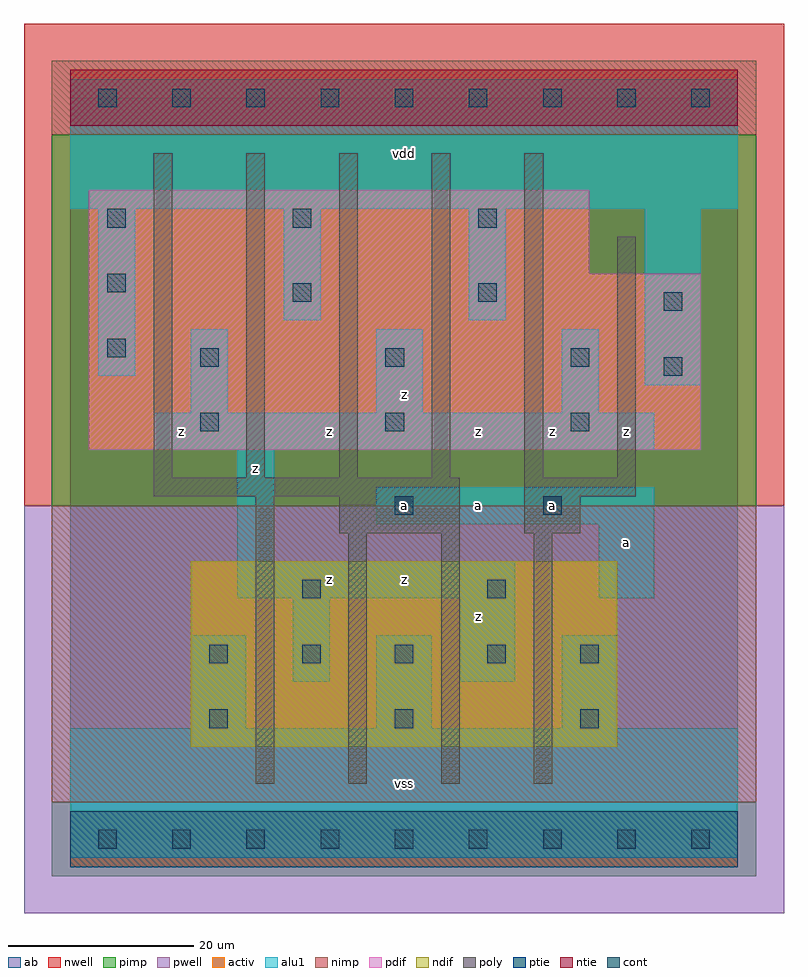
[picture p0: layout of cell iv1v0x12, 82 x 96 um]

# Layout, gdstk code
import gdstk
lib = gdstk.Library(unit=1e-6, precision=1e-09)
def R(c, l, rs):  # rectangles x0, y0, x1, y1
    for r in rs: c.add(gdstk.rectangle(r[:2], r[2:], *l))
def A(c, l, x, y, w, h, nx, ny, dx, dy):  # array of equal rectangles
    R(c, l, [(x+i*dx, y+j*dy, x+i*dx+w, y+j*dy+h) for i in range(nx) for j in range(ny)])
ndif = (3, 0)
pdif = (4, 0)
ntie = (5, 0)
ptie = (6, 0)
cont = (25, 0)
pwell = (41, 0)
nwell = (42, 0)
activ = (43, 0)
pimp = (44, 0)
nimp = (45, 0)
poly = (46, 0)
alu1 = (49, 0)
ab = (63, 0)

iv1v0x12 = lib.new_cell('iv1v0x12')
R(iv1v0x12, ndif, [(13,10,59,30)])
R(iv1v0x12, pdif, [(2,42,68,61), (2,61,56,70)])
R(iv1v0x12, ntie, [(0,77,72,83)])
R(iv1v0x12, ptie, [(0,-3,72,3)])
A(iv1v0x12, cont, 3, -1, 2, 2, 9, 2, 8, 80)
A(iv1v0x12, cont, 15, 12, 2, 2, 3, 1, 20, 0)
A(iv1v0x12, cont, 15, 19, 2, 2, 5, 1, 10, 0)
A(iv1v0x12, cont, 14, 44, 2, 2, 3, 2, 20, 7)
A(iv1v0x12, cont, 4, 66, 2, 2, 3, 1, 20, 0)
R(iv1v0x12, cont, [(25,26,27,28), (45,26,47,28), (35,35,37,37), (51,35,53,37), (64,50,66,52), (4,52,6,54), (64,57,66,59), (24,58,26,60), (44,58,46,60), (4,59,6,61)])
R(iv1v0x12, pwell, [(-5,-8,77,36)])
R(iv1v0x12, nwell, [(-5,36,77,88)])
R(iv1v0x12, activ, [(0,-3,72,3), (13,10,59,30), (2,42,68,61), (2,61,56,70), (0,77,72,83)])
R(iv1v0x12, pimp, [(-2,-4,74,4), (-2,36,74,76)])
R(iv1v0x12, nimp, [(-2,4,74,36), (-2,76,74,84)])
A(iv1v0x12, poly, 30, 6, 2, 27, 3, 1, 10, 0)
A(iv1v0x12, poly, 9, 39, 2, 35, 5, 1, 10, 0)
R(iv1v0x12, poly, [(20,6,22,37), (29,33,42,37), (49,33,55,37), (9,37,42,39), (49,37,61,39), (59,39,61,65)])
A(iv1v0x12, alu1, 13, 12, 6, 10, 3, 1, 20, 0)
R(iv1v0x12, alu1, [(0,-2,72,12), (24,17,28,26), (42,17,48,26), (18,26,48,30), (57,26,63,34), (18,30,22,42), (33,34,63,38), (9,42,63,46), (13,46,17,55), (33,46,38,55), (53,46,57,55), (62,49,68,68), (3,50,7,68), (23,56,27,68), (43,56,47,68), (0,68,72,82)])
R(iv1v0x12, ab, [(0,0,72,80)])
iv1v0x12.add(gdstk.Label('z', (12,44), layer=49, texttype=0))
iv1v0x12.add(gdstk.Label('z', (28,28), layer=49, texttype=0))
iv1v0x12.add(gdstk.Label('z', (28,44), layer=49, texttype=0))
iv1v0x12.add(gdstk.Label('z', (20,40), layer=49, texttype=0))
iv1v0x12.add(gdstk.Label('vss', (36,6), layer=49, texttype=0))
iv1v0x12.add(gdstk.Label('z', (36,28), layer=49, texttype=0))
iv1v0x12.add(gdstk.Label('a', (36,36), layer=49, texttype=0))
iv1v0x12.add(gdstk.Label('a', (44,36), layer=49, texttype=0))
iv1v0x12.add(gdstk.Label('a', (52,36), layer=49, texttype=0))
iv1v0x12.add(gdstk.Label('z', (44,24), layer=49, texttype=0))
iv1v0x12.add(gdstk.Label('z', (44,44), layer=49, texttype=0))
iv1v0x12.add(gdstk.Label('z', (52,44), layer=49, texttype=0))
iv1v0x12.add(gdstk.Label('z', (36,48), layer=49, texttype=0))
iv1v0x12.add(gdstk.Label('vdd', (36,74), layer=49, texttype=0))
iv1v0x12.add(gdstk.Label('a', (60,32), layer=49, texttype=0))
iv1v0x12.add(gdstk.Label('z', (60,44), layer=49, texttype=0))

lib.write_gds('iv1v0x12.gds')
